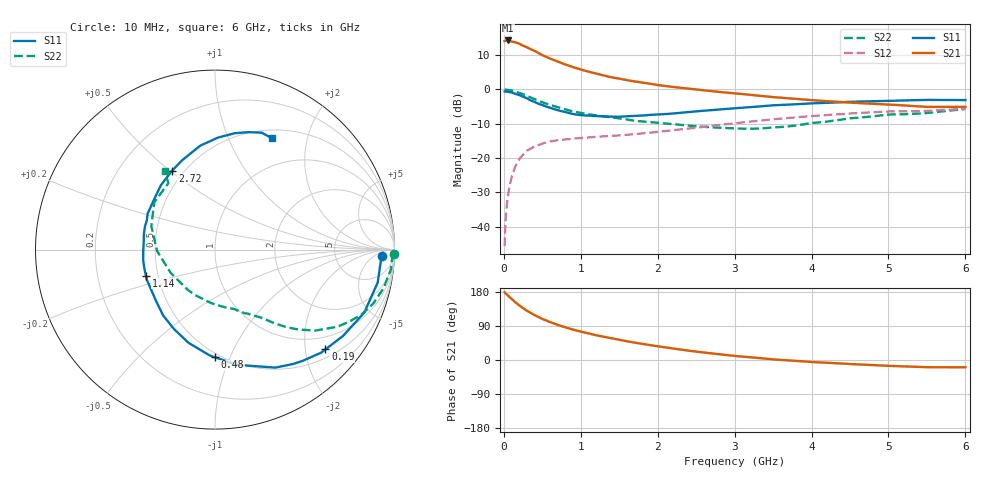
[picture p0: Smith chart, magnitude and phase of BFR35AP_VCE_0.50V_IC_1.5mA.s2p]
! Infineon Technologies  Discrete & RF Semiconductors
! BFR35AP
! VCE = 0.50 V,  IC =  1.5 mA
! Common Emitter S-Parameters:  Nov 2015
# GHz  S  MA  R  50
!  f  S11  S21  S12  S22
! GHz  MAG  ANG  MAG  ANG  MAG  ANG  MAG  ANG
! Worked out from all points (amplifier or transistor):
!   210 points, 10 MHz to 6 GHz, reference 50 ohm
!   highest |S21| = 14.2 dB at 50 MHz (marker M1)
!   |S21| within 3 dB of that: start of sweep to 395.7 MHz
!   unconditionally stable (mu >= 1): 1.119 GHz to end of sweep
!   at 185 MHz: K = 0.21, MSG = 17.2 dB, |S12| = -21.0 dB
!   at 1.52 GHz: K = 1.21, MAG = 5.5 dB, |S12| = -13.4 dB
!   at 6 GHz: K = 1.11, MAG = -1.8 dB, |S12| = -5.7 dB
!   S11 on the Smith chart (normalised r, x): 10 MHz: 21, -12; 190 MHz: 0.68, -2.43; 480 MHz: 0.47, -0.88; 1.14 GHz: 0.43, -0.15; 2.72 GHz: 0.43, +0.51; 6 GHz: 0.60, +1.45
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0.01  0.9308 -2.3  5.05 178.6  0.0052 89.3  0.9951 -1.3
0.025  0.9244 -5.7  5.078 175.3  0.0134 84.4  0.9878 -3.2
0.05  0.9249 -11.4  5.147 170.7  0.0267 82.5  0.9859 -6.6
0.095  0.9034 -21.7  4.987 162.8  0.0495 76.4  0.9652 -12.3
0.15  0.8603 -34.0  4.838 152.1  0.0755 69.2  0.9319 -18.8
0.19  0.8292 -42.1  4.657 145.8  0.0912 64.4  0.8986 -23.0
0.24  0.7894 -51.7  4.375 138.4  0.109 59.1  0.8547 -27.6
0.3  0.7385 -62.9  4.085 129.8  0.1274 54.0  0.8052 -32.3
0.4  0.653 -79.4  3.627 118.3  0.1478 46.6  0.7177 -39.0
0.48  0.6 -90.0  3.235 110.5  0.1595 42.2  0.6601 -42.6
0.6  0.5398 -105.9  2.81 100.1  0.1741 37.0  0.5948 -46.9
0.7  0.4974 -117.5  2.543 92.6  0.1816 34.3  0.549 -49.7
0.9  0.4373 -138.2  2.104 80.1  0.1913 30.8  0.4763 -54.4
1.02  0.419 -148.9  1.913 74.1  0.1958 29.4  0.4483 -56.8
1.14  0.4116 -159.4  1.762 68.2  0.2007 28.4  0.4271 -59.5
1.6  0.4052 168.2  1.359 49.3  0.2176 28.3  0.3641 -69.4
2.02  0.4309 146.0  1.147 35.6  0.2418 29.6  0.3238 -80.9
2.72  0.5 118.4  0.936 17.1  0.2951 29.1  0.2786 -109.2
3.1  0.5399 107.4  0.853 9.1  0.3293 26.8  0.2671 -129.7
4.1  0.6298 86.8  0.684 -6.2  0.4153 17.3  0.3299 176.5
5.1  0.6837 73.0  0.592 -16.1  0.4769 4.6  0.4306 138.5
6  0.6969 63.1  0.555 -19.2  0.5199 -4.4  0.5174 122.5
